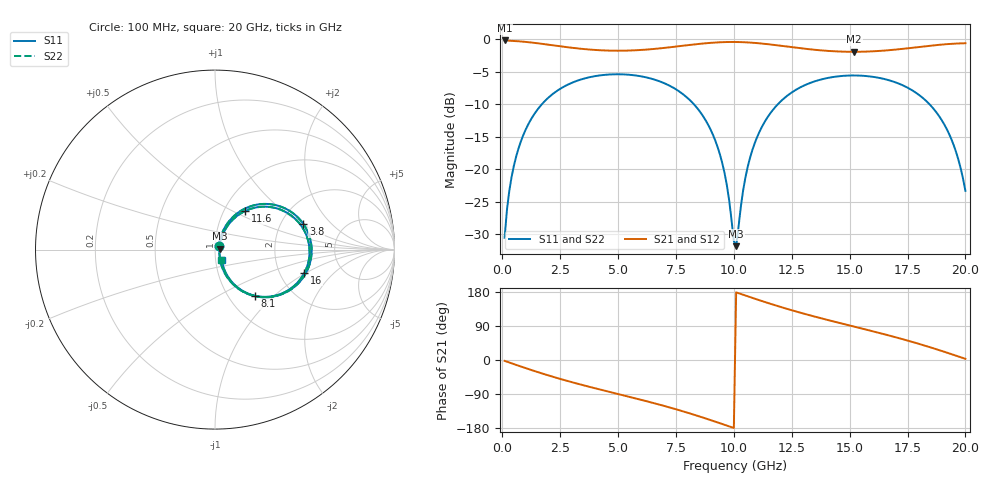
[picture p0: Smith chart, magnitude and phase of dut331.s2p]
! Touchstone file exported from HFSS 2026.1.0
!  File:  C:/ffzhzh/LocalFiles/Ansys_Project_Files/temp_train_TSV_RDL_331_1783033063_4048.aedt
!  Generated:  07:13:24 AM Jul  3, 2026
!  Design:  TSV_RDL
!  Project:  temp_train_TSV_RDL_331_1783033063_4048
! Variables:
!  h_bsmrdl = 3.75um
!  h_ox = 20um
!  h_rdl = 5um
!  h_sub = 52.01um
!  h_tmrdl = 4.9um
!  h_tsv = 52.01um
!  h_via = 3um
!  l_bsmrdl = 848.03um
!  l_sub = 6526.07um
!  l_tmrdl = 855.22um
!  m_sub = 200um
!  pitch = 57.3um
!  r_tsv = 11.58um
!  s_tmrdl = 10um
!  w_bsmrdl = 24.27um
!  w_sub = 500um
!  w_tmrdl = 29.43um
!  x_tsv_center1 = 869.935um
!  x_tsv_center2 = 1742.235um
!  x_tsv_center3 = 2626.885um
!  x_tsv_center4 = 3499.185um
!  x_tsv_center5 = 4383.835um
!  x_tsv_center6 = 5256.135um
# GHz S MA R 50.000000
! Terminal data exported
! Port[1] = TM_RDL1_1_T1
! Port[2] = TM_RDL5_1_T1
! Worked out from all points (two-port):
!   200 points, 100 MHz to 20 GHz, reference 50 ohm
!   highest |S21| = -0.17 dB at 100 MHz (marker M1); lowest = -1.9 dB at 15.2 GHz (marker M2)
!   |S21| within 3 dB of the highest: start of sweep to end of sweep
!   lowest |S11| = -31.8 dB at 10.1 GHz (marker M3), VSWR 1.05, Z = 52.6 + j0.516 ohm
!   |S11| at or under -10 dB: start of sweep to 1.708 GHz; 8.274 GHz to 11.9 GHz (3.623 GHz wide, 35.9 % of centre); 18.45 GHz to end of sweep
!   |S22| runs from -31.9 to -5.4 dB; largest |S21 - S12| = 1.7e-14
!   S11 on the Smith chart (normalised r, x): 100 MHz: 1.04, +0.05; 3.8 GHz: 2.65, +1.03; 8.1 GHz: 1.31, -0.77; 11.6 GHz: 1.25, +0.58; 16 GHz: 2.74, -0.96; 20 GHz: 1.07, -0.12
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0.1  0.0297 46.9  0.9803 -2.3  0.9803 -2.3  0.0297 46.9
! Gamma 0 0 0 0
! Port Impedance 50 0 50 0
0.3  0.06768 64.6  0.9762 -6.6  0.9762 -6.6  0.06768 64.6
0.5  0.1063 66.7  0.9717 -10.8  0.9717 -10.8  0.1063 66.7
1.1  0.2179 60.3  0.952 -23.3  0.952 -23.3  0.2179 60.3
2.1  0.3698 43.5  0.9041 -42.7  0.9041 -42.7  0.3698 43.5
3.5  0.497 20.8  0.8425 -66.6  0.8425 -66.6  0.497 20.8
3.8  0.5124 16.2  0.8335 -71.4  0.8335 -71.4  0.5124 16.2
6.8  0.4746 -28.4  0.8517 -118.0  0.8517 -118.0  0.4746 -28.4
8.1  0.3405 -49.5  0.9058 -141.0  0.9058 -141.0  0.3406 -49.6
9.3  0.148 -67.2  0.9475 -164.8  0.9475 -164.8  0.1481 -67.3
9.7  0.07502 -65.7  0.9534 -173.1  0.9534 -173.1  0.07501 -65.8
10.1  0.02558 11.1  0.9539 178.5  0.9539 178.5  0.02544 11.0
10.4  0.06852 59.5  0.9506 172.2  0.9506 172.2  0.06844 59.5
10.7  0.1226 63.0  0.9443 166.0  0.9443 166.0  0.1226 63.0
11.6  0.2734 52.0  0.9119 147.9  0.9119 147.9  0.2734 51.9
13.4  0.4689 23.3  0.8339 116.0  0.8339 116.0  0.4689 23.2
15.2  0.527 -3.0  0.8017 88.0  0.8017 88.0  0.527 -3.1
16  0.5147 -14.4  0.8086 75.8  0.8086 75.8  0.5148 -14.6
16.7  0.4843 -24.7  0.8248 64.7  0.8248 64.7  0.4843 -24.9
18.9  0.2509 -58.6  0.9085 25.4  0.9085 25.4  0.2508 -59.0
19.5  0.1525 -64.8  0.9258 13.4  0.9258 13.4  0.1522 -65.5
20  0.0682 -56.3  0.9332 3.0  0.9332 3.0  0.0674 -57.7
